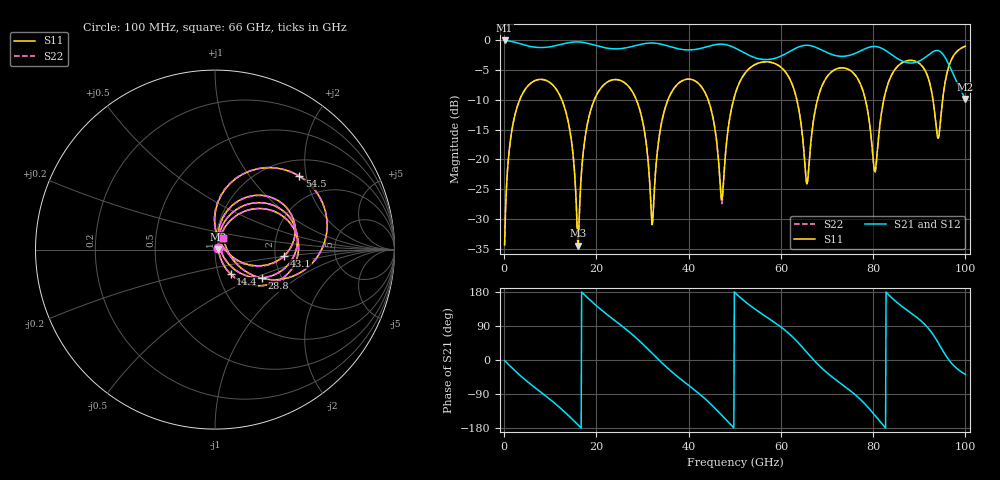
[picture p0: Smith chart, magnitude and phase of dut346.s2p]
! Touchstone file exported from HFSS 2026.1.0
!  File:  C:/ffzhzh/LocalFiles/Ansys_Project_Files/temp_train_TSV_RDL_346_1783707575_44652.aedt
!  Generated:  02:28:20 AM Jul 11, 2026
!  Design:  TSV_RDL
!  Project:  temp_train_TSV_RDL_346_1783707575_44652
! Variables:
!  h_bsmrdl = 4.95um
!  h_ox = 20um
!  h_rdl = 5um
!  h_sub = 80.24um
!  h_tmrdl = 3.21um
!  h_tsv = 80.24um
!  h_via = 3um
!  l_bsmrdl = 653.67um
!  l_sub = 3501.97um
!  l_tmrdl = 256.53um
!  m_sub = 200um
!  pitch = 45.71um
!  r_tsv = 9.19um
!  s_tmrdl = 10um
!  w_bsmrdl = 23.98um
!  w_sub = 500um
!  w_tmrdl = 14.3um
!  x_tsv_center1 = 263.68um
!  x_tsv_center2 = 941.33um
!  x_tsv_center3 = 1212.16um
!  x_tsv_center4 = 1889.81um
!  x_tsv_center5 = 2160.64um
!  x_tsv_center6 = 2838.29um
# GHz S MA R 50.000000
! Terminal data exported
! Port[1] = TM_RDL1_1_T1
! Port[2] = TM_RDL5_1_T1
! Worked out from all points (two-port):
!   1000 points, 100 MHz to 100 GHz, reference 50 ohm
!   highest |S21| = -0.13 dB at 100 MHz (marker M1); lowest = -9.9 dB at 100 GHz (marker M2)
!   |S21| within 3 dB of the highest: start of sweep to 54.92 GHz; 58.58 GHz to 85.21 GHz (26.63 GHz wide, 37 % of centre) (the widest 2 of 3)
!   lowest |S11| = -34.4 dB at 16 GHz (marker M3), VSWR 1.04, Z = 51.9 + j0.0943 ohm
!   |S11| at or under -10 dB: 12.48 GHz to 19.58 GHz (7.092 GHz wide, 44.2 % of centre); 28.64 GHz to 35.54 GHz (6.901 GHz wide, 21.5 % of centre); 44.2 GHz to 49.75 GHz (5.545 GHz wide, 11.8 % of centre) (the widest 3 of 7)
!   |S22| runs from -34.5 to -1.1 dB; largest |S21 - S12| = 9.6e-14
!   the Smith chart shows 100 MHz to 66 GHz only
!   S11 on the Smith chart (normalised r, x): 100 MHz: 1.03, +0.02; 14.4 GHz: 1.14, -0.32; 28.8 GHz: 1.59, -0.55; 43.1 GHz: 2.25, -0.17; 54.5 GHz: 1.37, +1.83; 66 GHz: 1.09, +0.15
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0.1  0.01934 36.3  0.9846 -1.3  0.9846 -1.3  0.01934 36.3
! Gamma 0 0 0 0
! Port Impedance 50 0 50 0
4.7  0.3918 33.0  0.8957 -53.7  0.8957 -53.7  0.3918 33.0
14.4  0.1607 -57.4  0.9492 -151.8  0.9492 -151.8  0.1607 -57.5
16  0.01908 2.7  0.9573 -171.0  0.9573 -171.0  0.0189 2.7
16.8  0.0814 74.2  0.9522 179.4  0.9522 179.4  0.08137 74.4
21  0.3955 39.9  0.8704 132.9  0.8704 132.9  0.3956 39.9
28.8  0.3053 -30.9  0.8981 56.4  0.8981 56.4  0.3054 -30.8
32  0.03067 -4.3  0.9374 18.9  0.9374 18.9  0.03191 -3.5
33.4  0.1349 79.0  0.9266 1.9  0.9266 1.9  0.1351 78.4
43.1  0.3877 -4.9  0.8546 -97.4  0.8546 -97.4  0.3876 -5.3
47.2  0.04601 34.5  0.9175 -146.1  0.9175 -146.1  0.04274 34.5
50.1  0.3528 79.4  0.851 177.3  0.851 177.3  0.3524 79.8
54.5  0.6231 41.0  0.7046 133.4  0.7046 133.4  0.623 41.1
61.8  0.4799 -16.5  0.7919 69.2  0.7919 69.2  0.48 -16.5
66  0.08116 54.8  0.8962 15.2  0.8962 15.2  0.08085 54.7
66.7  0.1651 73.7  0.8859 5.7  0.8859 5.7  0.1648 73.8
77.1  0.4377 -6.6  0.7998 -102.4  0.7998 -102.4  0.4372 -6.8
80.4  0.07956 34.0  0.8779 -146.6  0.8779 -146.6  0.07708 34.2
83.4  0.4482 72.7  0.7783 171.6  0.7783 171.6  0.448 73.0
92.6  0.3814 -0.1  0.7765 73.9  0.7765 73.9  0.3813 -0.0
95.3  0.3708 84.2  0.7404 20.5  0.7404 20.5  0.3709 84.3
100  0.8825 45.6  0.3206 -38.0  0.3206 -38.0  0.8825 45.6
